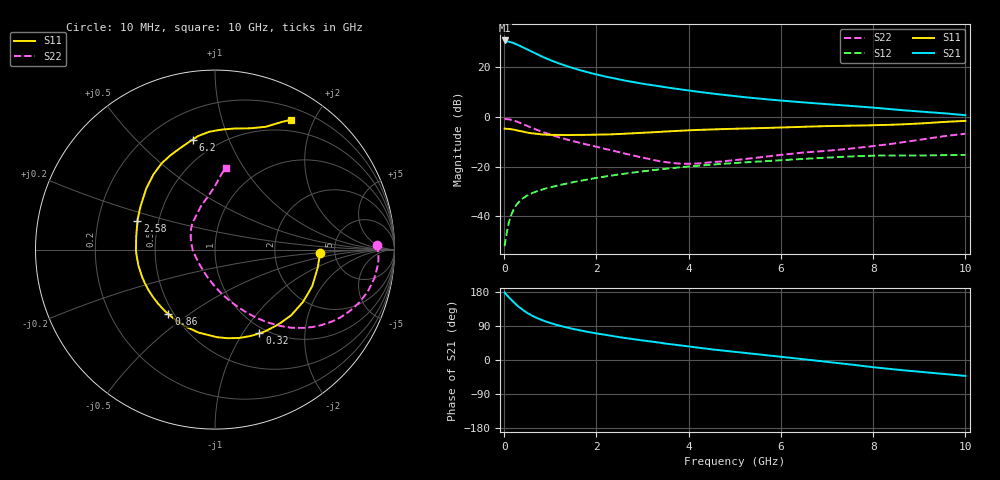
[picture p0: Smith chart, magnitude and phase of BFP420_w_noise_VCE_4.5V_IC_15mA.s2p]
! Infineon Technologies  Discrete & RF Semiconductors
! BFP420
! VCE =  4.5 V,  IC =  15 mA
! Common Emitter S-Parameters:  Jan 2016
# GHz  S  MA  R  50
!  f  S11  S21  S12  S22
! GHz  MAG  ANG  MAG  ANG  MAG  ANG  MAG  ANG
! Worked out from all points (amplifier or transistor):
!   233 points, 10 MHz to 10 GHz, reference 50 ohm
!   highest |S21| = 30.9 dB at 10 MHz (marker M1)
!   |S21| within 3 dB of that: start of sweep to 432.8 MHz
!   unconditionally stable (mu >= 1): start of sweep to 24.14 MHz; 2.038 GHz to end of sweep
!   at 200 MHz: K = 0.36, MSG = 33.7 dB, |S12| = -37.5 dB
!   at 1.74 GHz: K = 0.93, MSG = 21.9 dB, |S12| = -25.4 dB
!   at 10 GHz: K = 1.08, MAG = 6.3 dB, |S12| = -15.3 dB
!   lowest NFmin = 1.06 dB at 900 MHz
!   S11 on the Smith chart (normalised r, x): 10 MHz: 3.81, -0.24; 320 MHz: 0.92, -1.19; 860 MHz: 0.47, -0.42; 2.58 GHz: 0.38, +0.15; 6.2 GHz: 0.37, +0.75; 10 GHz: 0.35, +1.68
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0.01  0.5855 -2.0  34.93 178.4  0.0025 19.6  0.9017 1.6
0.02  0.5835 -3.9  33.91 176.5  0.0029 33.3  0.9117 -1.6
0.1  0.5788 -20.7  33.02 165.8  0.0074 62.1  0.9022 -10.3
0.15  0.5704 -30.8  32.08 159.4  0.0104 65.0  0.8825 -15.4
0.24  0.5483 -48.0  29.87 148.6  0.0155 63.1  0.8321 -23.5
0.32  0.5278 -62.0  27.78 140.2  0.0195 60.5  0.78 -29.9
0.4  0.5105 -74.7  25.61 132.5  0.0228 57.9  0.7266 -35.4
0.45  0.4986 -82.0  24.29 128.3  0.0246 56.5  0.6942 -38.4
0.6  0.4716 -101.1  20.67 117.3  0.0292 53.2  0.6057 -45.9
0.7  0.4583 -111.8  18.63 111.4  0.0318 51.8  0.5556 -49.8
0.86  0.4431 -125.8  15.94 103.5  0.0354 50.5  0.49 -54.8
1  0.4373 -136.7  14.04 97.5  0.0384 49.7  0.4421 -58.9
1.2  0.4339 -149.0  11.91 90.5  0.0425 49.0  0.3873 -63.8
1.68  0.4363 -171.2  8.618 77.3  0.0525 47.8  0.2957 -74.1
2.14  0.4428 172.9  6.728 67.3  0.0623 45.9  0.2346 -83.7
2.58  0.4598 160.0  5.522 58.8  0.0717 43.5  0.1875 -95.2
3.4  0.5036 140.8  4.107 45.2  0.0886 37.8  0.1277 -125.1
5.1  0.5826 114.5  2.576 20.2  0.1203 24.0  0.1387 163.0
6.2  0.6254 101.5  2.074 6.0  0.1382 15.1  0.1805 136.8
6.8  0.6494 95.1  1.878 -2.1  0.1488 9.7  0.2019 125.7
8.4  0.6988 75.1  1.435 -24.1  0.1674 -7.3  0.2884 99.5
10  0.8363 59.8  1.089 -42.0  0.1724 -19.3  0.4607 82.7
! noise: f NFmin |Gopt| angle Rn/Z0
0.9  1.06  0.09  -152  0.13
1.8  1.36  0.18  -147  0.12
2.4  1.49  0.17  -148  0.14
3  1.53  0.25  -138  0.14
4  1.67  0.38  -119  0.2
5  2.14  0.44  -103  0.32
6  2.48  0.5  -88  0.47
